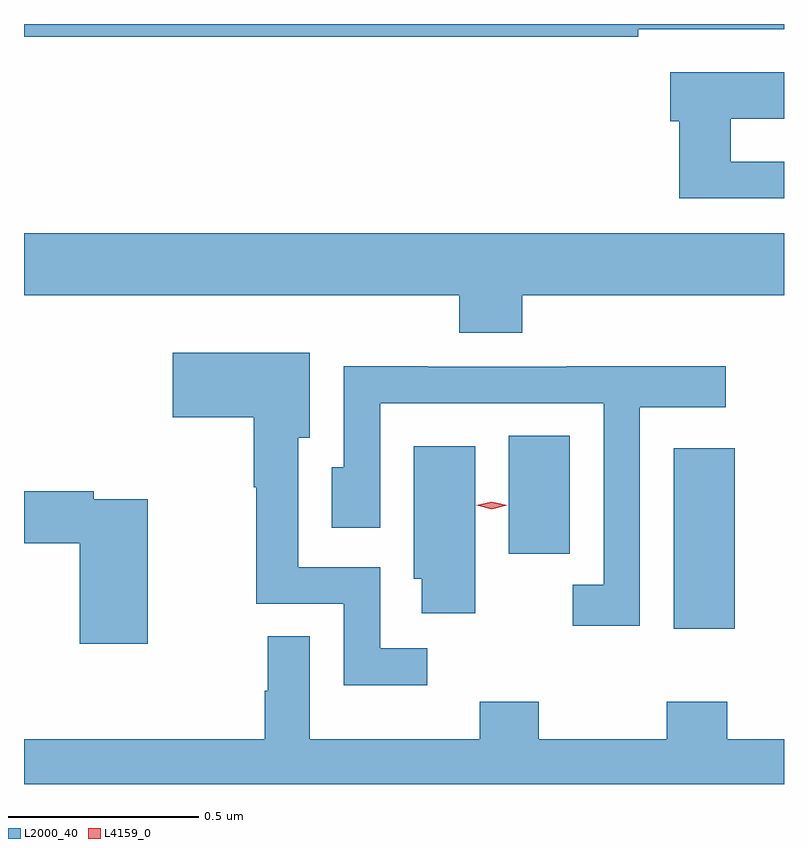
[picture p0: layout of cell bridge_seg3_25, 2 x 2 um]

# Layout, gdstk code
import gdstk
lib = gdstk.Library(unit=1e-6, precision=1e-09)
def R(c, l, rs):  # rectangles x0, y0, x1, y1
    for r in rs: c.add(gdstk.rectangle(r[:2], r[2:], *l))
def P(c, l, *ps):  # polygons
    for p in ps: c.add(gdstk.Polygon(p, *l))
L2000_40 = (2000, 40)
L4159_0 = (4159, 0)

bridge_seg3_25 = lib.new_cell('bridge_seg3_25')
R(bridge_seg3_25, L2000_40, [(723.005,733.338,723.166,733.813), (722.57,733.536,722.731,733.847)])
P(bridge_seg3_25, L2000_40, [(722.912,734.916),(723.295,734.916),(723.295,734.93),(721.295,734.93),(721.295,734.896),(722.912,734.896)],
  [(723.295,734.568),(723.155,734.568),(723.155,734.681),(723.295,734.681),(723.295,734.803),(722.996,734.803),(722.996,734.674),(723.019,734.674),(723.019,734.472),(723.295,734.472)],
  [(722.606,734.216),(723.295,734.216),(723.295,734.38),(721.295,734.38),(721.295,734.216),(722.441,734.216),(722.441,734.117),(722.606,734.117)],
  [(722.356,733.287),(722.232,733.287),(722.232,733.5),(722.017,733.5),(722.017,733.841),(722.047,733.841),(722.047,734.065),(721.686,734.065),(721.686,733.895),(721.899,733.895),(721.899,733.711),(721.906,733.711),(721.906,733.404),(722.136,733.404),(722.136,733.19),(722.356,733.19)],
  [(722.916,733.922),(723.142,733.922),(723.142,734.03),(722.723,734.03),(722.723,734.028),(722.357,734.028),(722.357,734.03),(722.136,734.03),(722.136,733.764),(722.105,733.764),(722.105,733.605),(722.232,733.605),(722.232,733.932),(722.82,733.932),(722.82,733.455),(722.739,733.455),(722.739,733.347),(722.916,733.347)],
  [(722.482,733.819),(722.321,733.819),(722.321,733.47),(722.342,733.47),(722.342,733.38),(722.482,733.38)],
  [(721.62,733.68),(721.478,733.68),(721.478,733.7),(721.295,733.7),(721.295,733.564),(721.442,733.564),(721.442,733.299),(721.62,733.299)],
  [(723.295,733.048),(723.146,733.048),(723.146,733.147),(722.986,733.147),(722.986,733.048),(722.649,733.048),(722.649,733.147),(722.494,733.147),(722.494,733.048),(722.047,733.048),(722.047,733.319),(721.936,733.319),(721.936,733.176),(721.929,733.176),(721.929,733.048),(721.295,733.048),(721.295,732.93),(723.295,732.93)])
P(bridge_seg3_25, L4159_0, [(722.526,733.653),(722.485,733.663),(722.485,733.663),(722.485,733.663),(722.526,733.673),(722.567,733.663),(722.567,733.663),(722.567,733.663)])

lib.write_gds('bridge_seg3_25.gds')
